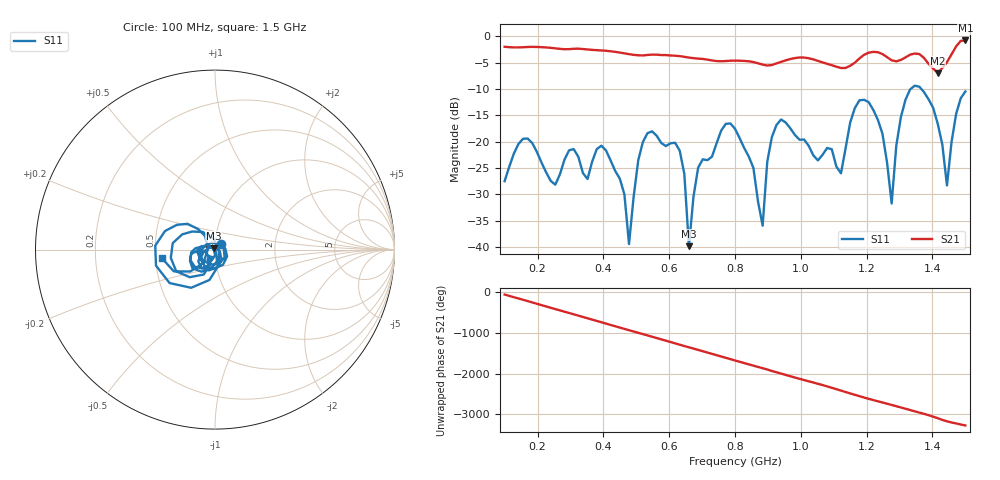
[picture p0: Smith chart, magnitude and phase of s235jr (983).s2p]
! NanoVNA-App
! Date: 2025-09-25 15:11:49
! Start: 100MHz Stop: 1,5GHz Points: 101
! S-Parameter data: F S11 S21 S12 S22
# Hz S RI R 50
!  Frequency  S11_Real  S11_Imag  S21_Real  S21_Imag  S12_Real  S12_Imag  S22_Real  S22_Imag
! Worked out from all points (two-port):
!   101 points, 100 MHz to 1.5 GHz, reference 50 ohm
!   highest |S21| = -0.76 dB at 1.5 GHz (marker M1); lowest = -7.0 dB at 1.416 GHz (marker M2)
!   |S21| within 3 dB of the highest: start of sweep to 634.6 MHz; 1.186 GHz to 1.258 GHz (71.38 MHz wide, 5.84 % of centre) (the widest 2 of 4)
!   lowest |S11| = -39.8 dB at 660 MHz (marker M3), VSWR 1.02, Z = 49.2 + j0.605 ohm
!   |S11| at or under -10 dB: start of sweep to 1.333 GHz; 1.366 GHz to end of sweep
!   S12 and S22 are empty: the file has one direction only
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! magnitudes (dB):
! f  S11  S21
! 100 MHz  -27.5  -2.0
! 156 MHz  -19.4  -2.0
! 338 MHz  -25.9  -2.4
! 408 MHz  -21.6  -2.7
! 464 MHz  -30.0  -3.2
! 478 MHz  -39.4  -3.4
! 520 MHz  -20.1  -3.6
! 576 MHz  -20.2  -3.5
! 632 MHz  -21.7  -3.7
! 660 MHz  -39.8  -4.0
! 688 MHz  -24.9  -4.2
! 800 MHz  -17.5  -4.6
! 884 MHz  -35.9  -5.3
! 926 MHz  -16.8  -5.1
! 1.038 GHz  -22.6  -4.4
! 1.122 GHz  -26.0  -6.0
! 1.206 GHz  -12.5  -3.1
! 1.276 GHz  -31.7  -4.5
! 1.332 GHz  -10.1  -3.5
! 1.416 GHz  -16.6  -7.0
! 1.444 GHz  -28.3  -4.9
! 1.5 GHz  -10.4  -0.8
